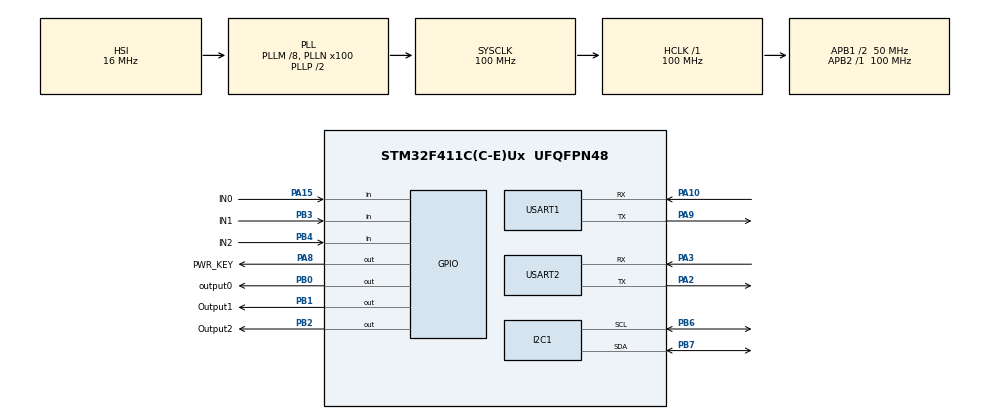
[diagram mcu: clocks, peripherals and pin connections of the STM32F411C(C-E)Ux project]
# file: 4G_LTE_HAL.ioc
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Mcu.Family=STM32F4
Mcu.Name=STM32F411C(C-E)Ux
Mcu.Package=UFQFPN48
NVIC.PriorityGroup=NVIC_PRIORITYGROUP_4
PA10.Mode=Asynchronous
PA10.Signal=USART1_RX
PA13.Mode=Serial_Wire
PA13.Signal=SYS_JTMS-SWDIO
PA14.Mode=Serial_Wire
PA14.Signal=SYS_JTCK-SWCLK
PA15.GPIO_Label=IN0
PA15.Signal=GPIO_Input
PA2.Mode=Asynchronous
PA2.Signal=USART2_TX
PA3.Mode=Asynchronous
PA3.Signal=USART2_RX
PA8.GPIO_Label=PWR_KEY
PA8.Signal=GPIO_Output
PA9.Mode=Asynchronous
PA9.Signal=USART1_TX
PB0.GPIO_Label=output0
PB0.Signal=GPIO_Output
PB1.GPIO_Label=Output1
PB1.Signal=GPIO_Output
PB2.GPIO_Label=Output2
PB2.Signal=GPIO_Output
PB3.GPIO_Label=IN1
PB3.Signal=GPIO_Input
PB4.GPIO_Label=IN2
PB4.Signal=GPIO_Input
PB6.Mode=I2C
PB6.Signal=I2C1_SCL
PB7.Mode=I2C
PB7.Signal=I2C1_SDA
PC14-OSC32_IN.Mode=LSE-External-Oscillator
PC14-OSC32_IN.Signal=RCC_OSC32_IN
PC15-OSC32_OUT.Mode=LSE-External-Oscillator
PC15-OSC32_OUT.Signal=RCC_OSC32_OUT
PH0\ -\ OSC_IN.Mode=HSE-External-Oscillator
PH0\ -\ OSC_IN.Signal=RCC_OSC_IN
PH1\ -\ OSC_OUT.Mode=HSE-External-Oscillator
PH1\ -\ OSC_OUT.Signal=RCC_OSC_OUT
ProjectManager.HeapSize=0x200
ProjectManager.StackSize=0x400
ProjectManager.TargetToolchain=STM32CubeIDE
RCC.48MHZClocksFreq_Value=50000000
RCC.AHBFreq_Value=100000000
RCC.APB1CLKDivider=RCC_HCLK_DIV2
RCC.APB1Freq_Value=50000000
RCC.APB1TimFreq_Value=100000000
RCC.APB2Freq_Value=100000000
RCC.APB2TimFreq_Value=100000000
RCC.CortexFreq_Value=100000000
RCC.HCLKFreq_Value=100000000
RCC.HSE_VALUE=25000000
RCC.HSI_VALUE=16000000
RCC.PLLM=8
RCC.PLLN=100
RCC.SYSCLKFreq_VALUE=100000000
RCC.SYSCLKSource=RCC_SYSCLKSOURCE_PLLCLK
RCC.VCOOutputFreq_Value=200000000
USART1.VirtualMode=VM_ASYNC
USART2.VirtualMode=VM_ASYNC
board=custom

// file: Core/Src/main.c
/* USER CODE BEGIN Header */
/**
  ******************************************************************************
  * @file           : main.c
  * @brief          : Main program body
  ******************************************************************************
  * @attention
  *
  * Copyright (c) 2026 STMicroelectronics.
  * All rights reserved.
  *
  * This software is licensed under terms that can be found in the LICENSE file
  * in the root directory of this software component.
  * If no LICENSE file comes with this software, it is provided AS-IS.
  *
  ******************************************************************************
  */
/* USER CODE END Header */
#include "main.h"

/* USER CODE BEGIN Includes */
#include "a7672e.h"
#include "cacert.h"
#include "devcfg.h"

/* Settings shared by every device (not in git, see the .example) */
#if __has_include("fleet_config.h")
#include "fleet_config.h"
#else
#error "Copy Core/Inc/fleet_config.h.example to fleet_config.h and fill it in"
#endif

#include <stdio.h>
#include <stdlib.h>
#include <string.h>
/* USER CODE END Includes */

/* USER CODE BEGIN PD */

#define FW_VERSION          "1.1.0"

/* First boot: no login in flash yet. The device connects with the shared
 * `provision` login as client id imei-<IMEI>, publishes a claim on
 * provision/imei-<IMEI>/up every CLAIM_INTERVAL_MS and waits for its own
 * login on provision/imei-<IMEI>/down (sent once someone approves it in the
 * platform app). See PROVISIONING.md in the mqtt repo. */
#define PROVISION_HOST      "mqtt.nodewave.dev"
#define PROVISION_PORT      8883
#define PROVISION_USER      "provision"
#define CLAIM_INTERVAL_MS   60000u

/* Reconnect back-off: the broker blocks an IP that opens more than 20
 * connections a minute, so never retry in a tight loop */
#define RECONNECT_MIN_MS    2000u
#define RECONNECT_MAX_MS    60000u

/* USER CODE END PD */

I2C_HandleTypeDef hi2c1;

UART_HandleTypeDef huart1;
UART_HandleTypeDef huart2;

void SystemClock_Config(void);
static void MX_GPIO_Init(void);
static void MX_I2C1_Init(void);
static void MX_USART1_UART_Init(void);
static void MX_USART2_UART_Init(void);

/* USER CODE BEGIN 0 */

/* ── printf → USART1 (debug) ─────────────────────────────────────────── */
int __io_putchar(int ch)
{
    HAL_UART_Transmit(&huart1, (uint8_t *)&ch, 1, 10);
    return ch;
}

/* ── State ───────────────────────────────────────────────────────────── *
 * Topics: <id>/up/... (device -> server), <id>/down/... (server -> device) */
static DevCfg_t            g_dev;            /* this device's login (flash) */
static A7672E_MqttConfig_t g_mqtt_cfg;       /* what mqtt_start() connects with */
static char g_imei[16];
static char g_prov_up[48], g_prov_down[48];
static char g_topic_status[48], g_topic_data[48], g_topic_down[48];
static char g_topic_cmd[48], g_topic_cfg[48];
static const char *g_subscribe;              /* g_prov_down or g_topic_down */

static volatile uint8_t g_mqtt_reconnect = 0;
static volatile uint8_t g_got_login      = 0;   /* provisioning reply arrived */
static volatile uint8_t g_reprovision    = 0;   /* cfg asked to forget the login */
static DevCfg_t         g_new_login;

/* Copy the string value of "key" from a flat JSON object. No escapes: ids,
 * passwords and host names never contain quotes or backslashes. */
static int json_str(const char *json, const char *key, char *out, size_t size)
{
    char pat[24];
    snprintf(pat, sizeof(pat), "\"%s\"", key);
    const char *p = strstr(json, pat);
    if (!p) return 0;
    p += strlen(pat);
    while (*p == ' ' || *p == ':') p++;
    if (*p++ != '"') return 0;
    size_t n = 0;
    while (*p && *p != '"' && n + 1 < size) out[n++] = *p++;
    out[n] = '\0';
    return *p == '"' && n > 0;
}

static int json_int(const char *json, const char *key, long *out)
{
    char pat[24];
    snprintf(pat, sizeof(pat), "\"%s\"", key);
    const char *p = strstr(json, pat);
    if (!p) return 0;
    p += strlen(pat);
    while (*p == ' ' || *p == ':') p++;
    char *end;
    *out = strtol(p, &end, 10);
    return end != p;
}

static int valid_id(const char *id)
{
    size_t n = strlen(id);
    if (n < 2 || n > 31) return 0;
    for (size_t i = 0; i < n; i++)
        if (!((id[i] >= 'a' && id[i] <= 'z') || (id[i] >= '0' && id[i] <= '9') ||
              (id[i] == '-' && i > 0)))
            return 0;
    return 1;
}

/* ── Provisioning reply: {"id","password","host","port"} ─────────────── */
static void handle_login_reply(const char *payload)
{
    DevCfg_t c;
    long port = 0;
    memset(&c, 0, sizeof(c));
    if (!json_str(payload, "id", c.device_id, sizeof(c.device_id)) || !valid_id(c.device_id) ||
        !json_str(payload, "password", c.password, sizeof(c.password)) ||
        !json_str(payload, "host", c.host, sizeof(c.host)) ||
        !json_int(payload, "port", &port) || port <= 0 || port > 65535) {
        printf("[PROV] reply not understood, still waiting\r\n");
        return;
    }
    c.port = (uint16_t)port;
    g_new_login = c;
    g_got_login = 1;
}

/* ── <id>/down/cmd: {"cmd":"output0","val":1} ────────────────────────── *
 * Extend this section to handle your downlink commands.                  */
static void handle_cmd(const char *payload)
{
    if (strstr(payload, "\"output0\"")) {
        uint8_t state = strstr(payload, "\"val\":1") ? 1u : 0u;
        HAL_GPIO_WritePin(output0_GPIO_Port, output0_Pin,
                          state ? GPIO_PIN_SET : GPIO_PIN_RESET);
        printf("[CMD] output0 -> %s\r\n", state ? "ON" : "OFF");
    }
    else if (strstr(payload, "\"Output1\"")) {
        uint8_t state = strstr(payload, "\"val\":1") ? 1u : 0u;
        HAL_GPIO_WritePin(Output1_GPIO_Port, Output1_Pin,
                          state ? GPIO_PIN_SET : GPIO_PIN_RESET);
        printf("[CMD] Output1 -> %s\r\n", state ? "ON" : "OFF");
    }
    else if (strstr(payload, "\"Output2\"")) {
        uint8_t state = strstr(payload, "\"val\":1") ? 1u : 0u;
        HAL_GPIO_WritePin(Output2_GPIO_Port, Output2_Pin,
                          state ? GPIO_PIN_SET : GPIO_PIN_RESET);
        printf("[CMD] Output2 -> %s\r\n", state ? "ON" : "OFF");
    }
}

/* ── MQTT downlink callback ──────────────────────────────────────────── */
static void on_mqtt_message(const char *topic, const char *payload,
                             uint16_t payload_len)
{
    printf("[MQTT RX] topic: %s (%u B)\r\n", topic, (unsigned)payload_len);

    if (strcmp(topic, g_prov_down) == 0) {
        handle_login_reply(payload);          /* never print: has the password */
        return;
    }
    printf("[MQTT RX] payload: %.*s\r\n", (int)payload_len, payload);

    if (strcmp(topic, g_topic_cmd) == 0)
        handle_cmd(payload);
    else if (strcmp(topic, g_topic_cfg) == 0 &&
             strstr(payload, "\"type\":\"reprovision\""))
        g_reprovision = 1;
    /* other down/ topics: ignored until handled */
}

/* ── MQTT connection-lost callback ──────────────────────────────────── */
static void on_mqtt_lost(void)
{
    printf("[MQTT] connection lost — will reconnect\r\n");
    g_mqtt_reconnect = 1;
}

/* Connect with g_mqtt_cfg, announce online (own login only), subscribe */
static A7672E_Status_t mqtt_start(void)
{
    if (A7672E_MqttConnect(&g_mqtt_cfg) != A7672E_OK)
        return A7672E_ERR;
    /* Not retained: the modem's last will cannot be retained, so a retained
     * "online" would outlive the device */
    if (g_subscribe == g_topic_down)
        A7672E_MqttPublish(g_topic_status, "online", 1, 0);
    if (A7672E_MqttSubscribe(g_subscribe, 1) != A7672E_OK) {
        printf("[MQTT] subscribe to %s failed\r\n", g_subscribe);
        return A7672E_ERR;
    }
    printf("[MQTT] subscribed to %s\r\n", g_subscribe);
    return A7672E_OK;
}

/* Retry mqtt_start() with doubling delay until it succeeds */
static void mqtt_start_with_backoff(void)
{
    uint32_t delay = RECONNECT_MIN_MS;
    while (mqtt_start() != A7672E_OK) {
        printf("[MQTT] connect failed, retrying in %lu s\r\n",
               (unsigned long)(delay / 1000u));
        HAL_Delay(delay);
        delay = (delay * 2u > RECONNECT_MAX_MS) ? RECONNECT_MAX_MS : delay * 2u;
    }
}

/* ── First boot: claim a login, save it, reboot. Never returns. ─────── */
static void run_provisioning(void)
{
    static char client_id[24];
    snprintf(client_id, sizeof(client_id), "imei-%s", g_imei);

    memset(&g_mqtt_cfg, 0, sizeof(g_mqtt_cfg));
    strcpy(g_mqtt_cfg.broker, PROVISION_HOST);
    g_mqtt_cfg.port = PROVISION_PORT;
    strcpy(g_mqtt_cfg.client_id, client_id);
    strcpy(g_mqtt_cfg.username, PROVISION_USER);
    strcpy(g_mqtt_cfg.password, PROVISION_PASSWORD);
    g_mqtt_cfg.use_ssl = 1;
    g_subscribe = g_prov_down;

    char claim[96];
    snprintf(claim, sizeof(claim), "{\"imei\":\"%s\",\"fw\":\"%s\",\"uid\":\"%08lx%08lx%08lx\"}",
             g_imei, FW_VERSION, (unsigned long)HAL_GetUIDw2(),
             (unsigned long)HAL_GetUIDw1(), (unsigned long)HAL_GetUIDw0());

    printf("[PROV] no login yet. IMEI %s: approve it in the platform app\r\n", g_imei);
    mqtt_start_with_backoff();
    uint32_t last_claim = HAL_GetTick() - CLAIM_INTERVAL_MS;   /* claim now */

    while (1) {
        A7672E_Process();

        if (g_mqtt_reconnect) {
            g_mqtt_reconnect = 0;
            mqtt_start_with_backoff();
            last_claim = HAL_GetTick() - CLAIM_INTERVAL_MS;
        }

        if ((HAL_GetTick() - last_claim) >= CLAIM_INTERVAL_MS) {
            last_claim = HAL_GetTick();
            printf("[PROV] claim %s\r\n",
                   A7672E_MqttPublish(g_prov_up, claim, 1, 0) == A7672E_OK ? "sent" : "FAILED");
        }

        if (g_got_login) {
            g_got_login = 0;
            if (DevCfg_Save(&g_new_login)) {
                printf("[PROV] login saved: %s. Rebooting\r\n", g_new_login.device_id);
                A7672E_MqttDisconnect();
                HAL_Delay(200);
                NVIC_SystemReset();
            }
            /* The server resends it with the next claim */
            printf("[PROV] ERROR: saving the login to flash failed\r\n");
        }
    }
}

/* ── Custom hex payloads cycled to <id>/up/data every 60 s ────────── */
static const char * const g_payloads[] = {
    "68250100103254769881239025012b140000002b50000000000000000004ddccbbaa502800005523270426200000b916",
    "68250100103254769881239025022b280000002b3c000000000000000004ddccbbaa2029000025002704262000003816",
    "68250100103254769881239025032b3c0000002b28000000000000000004ddccbbaa1529000055002704262000005e16",
    "68250100103254769881239025042b500000002b14000000000000000004ddccbbaa902800002501270426200000aa16",
    "68250100103254769881239025052b500000002b0000000000000000000744332211252900005501270426200000fc16",
    "68250100103254769881239025062b640000002b1e00000000000000000212903cfa3029000025022704262000003416",
    "68250100103254769881239025072b780000002b0a00000000000000000212903cfa1029000055022704262000004516",
    "68250100103254769881239025082b8c0000002b28000000000000000004ddccbbaa752800002503270426200000e516",
    "68250100103254769881239025092ba00000002b14000000000000000004ddccbbaa6028000055032704262000000116",
    "682501001032547698812390250a2ba00000002b00000000000000000007443322115028000025042704262000004e16",
    "682501001032547698812390250b2baa0000002b0000000000000000000212903cfa802800005504270426200000e216",
    "682501001032547698812390250c2bbe0000002b32000000000000000003887766550029000025052704262000005e16",
    "682501001032547698812390250d2bd20000002b1e000000000000000003887766550529000055052704262000009416",
    "682501001032547698812390250e2be60000002b0a00000000000000000388776655952800002506270426200000f516",
    "682501001032547698812390250f2bfa0000002b00000000000000000004ddccbbaa7028000055062704262000006016",
    "68250100103254769881239025102b0e0100002b1400000000000000000212903cfa6528000025072704262000001816",
    "68250100103254769881239025112b220100002b0000000000000000000212903cfa6028000055072704262000004416",
    "68250100103254769881239025122b360100002b2800000000000000000744332211102900002508270426200000da16",
    "68250100103254769881239025132b4a0100002b14000000000000000007443322112029000055082704262000001b16",
    "68250100103254769881239025142b5e0100002b0000000000000000000744332211152900002509270426200000e216",
};
#define PAYLOAD_COUNT  (sizeof(g_payloads) / sizeof(g_payloads[0]))

/* USER CODE END 0 */

int main(void)
{

  /* MCU Configuration--------------------------------------------------------*/

  /* Reset of all peripherals, Initializes the Flash interface and the Systick. */
  HAL_Init();

  /* Configure the system clock */
  SystemClock_Config();

  /* Initialize all configured peripherals */
  MX_GPIO_Init();
  MX_I2C1_Init();
  MX_USART1_UART_Init();
  MX_USART2_UART_Init();
  /* USER CODE BEGIN 2 */

  printf("== A7672E LTE HAL %s starting ==\r\n", FW_VERSION);

  /* ── Initialise driver, register callbacks ──────────────────────────── */
  A7672E_Init();
  A7672E_MqttSetMsgCallback(on_mqtt_message);
  A7672E_MqttSetLostCallback(on_mqtt_lost);

  A7672E_PowerOn();
  printf("Waiting for modem...\r\n");

  if (A7672E_WaitReady(15000) != A7672E_OK) {
      printf("ERROR: modem not responding\r\n");
      Error_Handler();
  }
  printf("Modem OK\r\n");

  /* ── Network registration ──────────────────────────── */
  printf("Registering on network...\r\n");
  A7672E_Status_t net_st = A7672E_InitNetwork(SIM_PIN, SIM_APN);
  if (net_st != A7672E_OK) {
      const char *reason = (net_st == A7672E_NO_SIM) ? "no SIM / SIM removed" :
                           (net_st == A7672E_NO_NET) ? "registration timeout"  :
                                                       "PDP activation failed";
      printf("ERROR: network init failed — %s\r\n", reason);
      Error_Handler();
  }
  printf("Network ready\r\n");

  /* ── TLS: root CA into the modem, bound to SSL context 0 ──────────── */
  if (A7672E_TlsUploadCert(CACERT_PEM, CACERT_PEM_LEN) != A7672E_OK) {
      printf("ERROR: CA certificate upload failed\r\n");
      Error_Handler();
  }

  /* ── Identity: IMEI for provisioning, login from flash ──────────────── */
  if (A7672E_GetImei(g_imei) != A7672E_OK) {
      printf("ERROR: could not read the IMEI\r\n");
      Error_Handler();
  }
  snprintf(g_prov_up,   sizeof(g_prov_up),   "provision/imei-%s/up",   g_imei);
  snprintf(g_prov_down, sizeof(g_prov_down), "provision/imei-%s/down", g_imei);

  if (!DevCfg_Load(&g_dev))
      run_provisioning();                    /* claims a login, reboots */

  snprintf(g_topic_status, sizeof(g_topic_status), "%s/up/status", g_dev.device_id);
  snprintf(g_topic_data,   sizeof(g_topic_data),   "%s/up/data",   g_dev.device_id);
  snprintf(g_topic_down,   sizeof(g_topic_down),   "%s/down/#",    g_dev.device_id);
  snprintf(g_topic_cmd,    sizeof(g_topic_cmd),    "%s/down/cmd",  g_dev.device_id);
  snprintf(g_topic_cfg,    sizeof(g_topic_cfg),    "%s/down/cfg",  g_dev.device_id);

  memset(&g_mqtt_cfg, 0, sizeof(g_mqtt_cfg));
  strcpy(g_mqtt_cfg.broker, g_dev.host);
  g_mqtt_cfg.port = g_dev.port;
  strcpy(g_mqtt_cfg.client_id, g_dev.device_id);
  strcpy(g_mqtt_cfg.username, g_dev.device_id);
  strcpy(g_mqtt_cfg.password, g_dev.password);
  g_mqtt_cfg.use_ssl = 1;
  strcpy(g_mqtt_cfg.will_topic, g_topic_status);
  strcpy(g_mqtt_cfg.will_payload, "offline");
  g_mqtt_cfg.will_qos = 1;
  g_subscribe = g_topic_down;

  /* ── MQTT connect (retries with back-off) ───────────────────────────── */
  printf("Device %s connecting to %s:%u...\r\n",
         g_dev.device_id, g_dev.host, (unsigned)g_dev.port);
  mqtt_start_with_backoff();
  printf("MQTT connected\r\n");

  /* USER CODE END 2 */

  /* Infinite loop */
  /* USER CODE BEGIN WHILE */

  uint32_t last_heartbeat = HAL_GetTick();
  uint32_t last_payload   = HAL_GetTick();   /* first payload fires after 60 s */
  uint32_t payload_index  = 0;

  /* Send first payload immediately (mirrors setup.py behaviour) */
  printf("[TX] Sending payload 1/%u to %s\r\n", (unsigned)PAYLOAD_COUNT, g_topic_data);
  if (A7672E_MqttPublish(g_topic_data, g_payloads[0], 1, 0) == A7672E_OK)
      printf("[TX] OK\r\n");
  else
      printf("[TX] FAILED\r\n");
  payload_index = 1;

  while (1)
  {
    /* USER CODE END WHILE */

    /* USER CODE BEGIN 3 */

    /* Drive URC state machine every loop iteration */
    A7672E_Process();

    /* <id>/down/cfg {"type":"reprovision"}: forget the login and claim a
     * new one (to move this device to another id) */
    if (g_reprovision) {
        printf("[CFG] reprovision: forgetting login %s, rebooting\r\n", g_dev.device_id);
        A7672E_MqttDisconnect();
        DevCfg_Erase();
        NVIC_SystemReset();
    }

    /* Reconnect if broker dropped the connection */
    if (g_mqtt_reconnect) {
        g_mqtt_reconnect = 0;
        printf("Reconnecting...\r\n");
        mqtt_start_with_backoff();
    }

    /* ── Heartbeat to <id>/up/status every 30 s ──────────────────── */
    if ((HAL_GetTick() - last_heartbeat) >= 30000u) {
        last_heartbeat = HAL_GetTick();
        char hbuf[48];
        snprintf(hbuf, sizeof(hbuf), "{\"uptime_ms\":%lu}",
                 (unsigned long)HAL_GetTick());
        if (A7672E_MqttPublish(g_topic_status, hbuf, 0, 0) == A7672E_OK)
            printf("[HB] sent: %s\r\n", hbuf);
        else
            printf("[HB] FAILED\r\n");
    }

    /* ── Hex payload to <id>/up/data every 60 s (cycle through all 20) ── */
    if ((HAL_GetTick() - last_payload) >= 60000u) {
        last_payload = HAL_GetTick();
        if (payload_index < PAYLOAD_COUNT) {
            printf("[TX] Sending payload %lu/%u...\r\n",
                   (unsigned long)(payload_index + 1), (unsigned)PAYLOAD_COUNT);
            if (A7672E_MqttPublish(g_topic_data, g_payloads[payload_index], 1, 0) == A7672E_OK)
                printf("[TX] OK\r\n");
            else
                printf("[TX] FAILED\r\n");
            payload_index++;
        } else {
            printf("[TX] All %u payloads sent. Monitoring...\r\n",
                   (unsigned)PAYLOAD_COUNT);
        }
    }

  }
  /* USER CODE END 3 */
}

void SystemClock_Config(void)
{
  RCC_OscInitTypeDef RCC_OscInitStruct = {0};
  RCC_ClkInitTypeDef RCC_ClkInitStruct = {0};

  /** Configure the main internal regulator output voltage
  */
  __HAL_RCC_PWR_CLK_ENABLE();
  __HAL_PWR_VOLTAGESCALING_CONFIG(PWR_REGULATOR_VOLTAGE_SCALE1);

  /** Initializes the RCC Oscillators according to the specified parameters
  * in the RCC_OscInitTypeDef structure.
  */
  RCC_OscInitStruct.OscillatorType = RCC_OSCILLATORTYPE_HSI;
  RCC_OscInitStruct.HSIState = RCC_HSI_ON;
  RCC_OscInitStruct.HSICalibrationValue = RCC_HSICALIBRATION_DEFAULT;
  RCC_OscInitStruct.PLL.PLLState = RCC_PLL_ON;
  RCC_OscInitStruct.PLL.PLLSource = RCC_PLLSOURCE_HSI;
  RCC_OscInitStruct.PLL.PLLM = 8;
  RCC_OscInitStruct.PLL.PLLN = 100;
  RCC_OscInitStruct.PLL.PLLP = RCC_PLLP_DIV2;
  RCC_OscInitStruct.PLL.PLLQ = 4;
  if (HAL_RCC_OscConfig(&RCC_OscInitStruct) != HAL_OK)
  {
    Error_Handler();
  }

  /** Initializes the CPU, AHB and APB buses clocks
  */
  RCC_ClkInitStruct.ClockType = RCC_CLOCKTYPE_HCLK|RCC_CLOCKTYPE_SYSCLK
                              |RCC_CLOCKTYPE_PCLK1|RCC_CLOCKTYPE_PCLK2;
  RCC_ClkInitStruct.SYSCLKSource = RCC_SYSCLKSOURCE_PLLCLK;
  RCC_ClkInitStruct.AHBCLKDivider = RCC_SYSCLK_DIV1;
  RCC_ClkInitStruct.APB1CLKDivider = RCC_HCLK_DIV2;
  RCC_ClkInitStruct.APB2CLKDivider = RCC_HCLK_DIV1;

  if (HAL_RCC_ClockConfig(&RCC_ClkInitStruct, FLASH_LATENCY_3) != HAL_OK)
  {
    Error_Handler();
  }
}

static void MX_I2C1_Init(void)
{

  hi2c1.Instance = I2C1;
  hi2c1.Init.ClockSpeed = 100000;
  hi2c1.Init.DutyCycle = I2C_DUTYCYCLE_2;
  hi2c1.Init.OwnAddress1 = 0;
  hi2c1.Init.AddressingMode = I2C_ADDRESSINGMODE_7BIT;
  hi2c1.Init.DualAddressMode = I2C_DUALADDRESS_DISABLE;
  hi2c1.Init.OwnAddress2 = 0;
  hi2c1.Init.GeneralCallMode = I2C_GENERALCALL_DISABLE;
  hi2c1.Init.NoStretchMode = I2C_NOSTRETCH_DISABLE;
  if (HAL_I2C_Init(&hi2c1) != HAL_OK)
  {
    Error_Handler();
  }

}

static void MX_USART1_UART_Init(void)
{

  huart1.Instance = USART1;
  huart1.Init.BaudRate = 115200;
  huart1.Init.WordLength = UART_WORDLENGTH_8B;
  huart1.Init.StopBits = UART_STOPBITS_1;
  huart1.Init.Parity = UART_PARITY_NONE;
  huart1.Init.Mode = UART_MODE_TX_RX;
  huart1.Init.HwFlowCtl = UART_HWCONTROL_NONE;
  huart1.Init.OverSampling = UART_OVERSAMPLING_16;
  if (HAL_UART_Init(&huart1) != HAL_OK)
  {
    Error_Handler();
  }

}

static void MX_USART2_UART_Init(void)
{

  huart2.Instance = USART2;
  huart2.Init.BaudRate = 115200;
  huart2.Init.WordLength = UART_WORDLENGTH_8B;
  huart2.Init.StopBits = UART_STOPBITS_1;
  huart2.Init.Parity = UART_PARITY_NONE;
  huart2.Init.Mode = UART_MODE_TX_RX;
  huart2.Init.HwFlowCtl = UART_HWCONTROL_NONE;
  huart2.Init.OverSampling = UART_OVERSAMPLING_16;
  if (HAL_UART_Init(&huart2) != HAL_OK)
  {
    Error_Handler();
  }

}

static void MX_GPIO_Init(void)
{
  GPIO_InitTypeDef GPIO_InitStruct = {0};

  /* GPIO Ports Clock Enable */
  __HAL_RCC_GPIOC_CLK_ENABLE();
  __HAL_RCC_GPIOH_CLK_ENABLE();
  __HAL_RCC_GPIOA_CLK_ENABLE();
  __HAL_RCC_GPIOB_CLK_ENABLE();

  /*Configure GPIO pin Output Level */
  HAL_GPIO_WritePin(GPIOB, output0_Pin|Output1_Pin|Output2_Pin, GPIO_PIN_RESET);

  /*Configure GPIO pin Output Level */
  HAL_GPIO_WritePin(PWR_KEY_GPIO_Port, PWR_KEY_Pin, GPIO_PIN_RESET);

  /*Configure GPIO pins : output0_Pin Output1_Pin Output2_Pin */
  GPIO_InitStruct.Pin = output0_Pin|Output1_Pin|Output2_Pin;
  GPIO_InitStruct.Mode = GPIO_MODE_OUTPUT_PP;
  GPIO_InitStruct.Pull = GPIO_NOPULL;
  GPIO_InitStruct.Speed = GPIO_SPEED_FREQ_LOW;
  HAL_GPIO_Init(GPIOB, &GPIO_InitStruct);

  /*Configure GPIO pin : PWR_KEY_Pin */
  GPIO_InitStruct.Pin = PWR_KEY_Pin;
  GPIO_InitStruct.Mode = GPIO_MODE_OUTPUT_PP;
  GPIO_InitStruct.Pull = GPIO_NOPULL;
  GPIO_InitStruct.Speed = GPIO_SPEED_FREQ_LOW;
  HAL_GPIO_Init(PWR_KEY_GPIO_Port, &GPIO_InitStruct);

  /*Configure GPIO pin : IN0_Pin */
  GPIO_InitStruct.Pin = IN0_Pin;
  GPIO_InitStruct.Mode = GPIO_MODE_INPUT;
  GPIO_InitStruct.Pull = GPIO_NOPULL;
  HAL_GPIO_Init(IN0_GPIO_Port, &GPIO_InitStruct);

  /*Configure GPIO pins : IN1_Pin IN2_Pin */
  GPIO_InitStruct.Pin = IN1_Pin|IN2_Pin;
  GPIO_InitStruct.Mode = GPIO_MODE_INPUT;
  GPIO_InitStruct.Pull = GPIO_NOPULL;
  HAL_GPIO_Init(GPIOB, &GPIO_InitStruct);

}

/* USER CODE BEGIN 4 */

/**
 * @brief  UART RX complete — forward modem UART bytes into the driver ring buffer.
 *         USART1 is debug-only (TX), no RX callback needed for it.
 */
void HAL_UART_RxCpltCallback(UART_HandleTypeDef *huart)
{
    if (huart->Instance == USART2)
        A7672E_UART_RxCpltCallback();
}

/* USER CODE END 4 */

void Error_Handler(void)
{
  __disable_irq();
  while (1)
  {
  }
}
